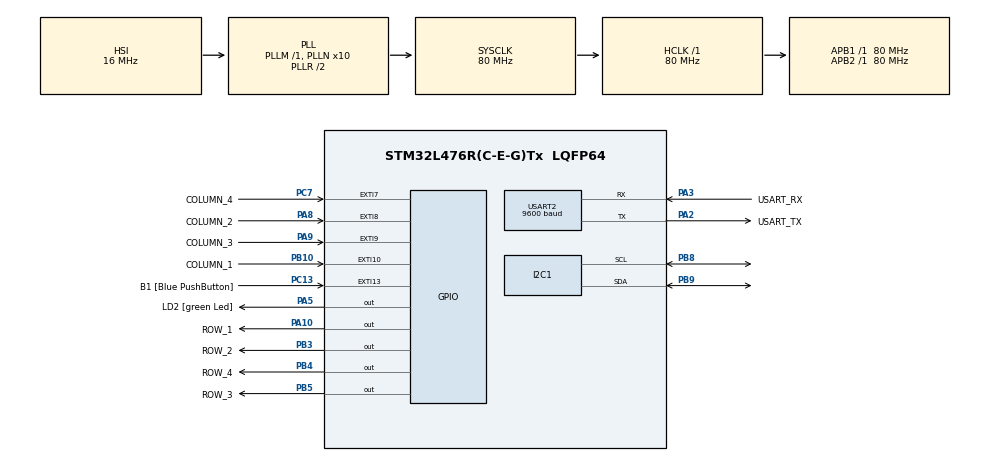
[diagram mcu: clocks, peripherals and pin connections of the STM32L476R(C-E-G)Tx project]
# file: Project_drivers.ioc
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I2C1.Timing=0x10909CEC
Mcu.Family=STM32L4
Mcu.Name=STM32L476R(C-E-G)Tx
Mcu.Package=LQFP64
NVIC.EXTI15_10_IRQn=true\:0\:0\:false\:false\:true\:true\:true\:true
NVIC.EXTI9_5_IRQn=true\:0\:0\:false\:false\:true\:true\:true\:true
NVIC.PriorityGroup=NVIC_PRIORITYGROUP_4
NVIC.USART2_IRQn=true\:0\:0\:false\:false\:true\:true\:true\:true
PA10.GPIO_Label=ROW_1
PA10.Signal=GPIO_Output
PA13\ (JTMS-SWDIO).GPIO_Label=TMS
PA13\ (JTMS-SWDIO).Mode=Serial_Wire
PA13\ (JTMS-SWDIO).Signal=SYS_JTMS-SWDIO
PA14\ (JTCK-SWCLK).GPIO_Label=TCK
PA14\ (JTCK-SWCLK).Mode=Serial_Wire
PA14\ (JTCK-SWCLK).Signal=SYS_JTCK-SWCLK
PA2.GPIO_Label=USART_TX
PA2.GPIO_Mode=GPIO_MODE_AF_PP
PA2.GPIO_PuPd=GPIO_NOPULL
PA2.GPIO_Speed=GPIO_SPEED_FREQ_VERY_HIGH
PA2.Mode=Asynchronous
PA2.Signal=USART2_TX
PA3.GPIO_Label=USART_RX
PA3.GPIO_Mode=GPIO_MODE_AF_PP
PA3.GPIO_PuPd=GPIO_NOPULL
PA3.GPIO_Speed=GPIO_SPEED_FREQ_VERY_HIGH
PA3.Mode=Asynchronous
PA3.Signal=USART2_RX
PA5.GPIO_Label=LD2 [green Led]
PA5.GPIO_ModeDefaultOutputPP=GPIO_MODE_OUTPUT_PP
PA5.GPIO_PuPd=GPIO_NOPULL
PA5.GPIO_Speed=GPIO_SPEED_FREQ_LOW
PA5.Signal=GPIO_Output
PA8.GPIO_Label=COLUMN_2
PA8.GPIO_PuPd=GPIO_PULLDOWN
PA8.Signal=GPXTI8
PA9.GPIO_Label=COLUMN_3
PA9.GPIO_PuPd=GPIO_PULLDOWN
PA9.Signal=GPXTI9
PB10.GPIO_Label=COLUMN_1
PB10.GPIO_PuPd=GPIO_PULLDOWN
PB10.Signal=GPXTI10
PB3\ (JTDO-TRACESWO).GPIO_Label=ROW_2
PB3\ (JTDO-TRACESWO).Signal=GPIO_Output
PB4\ (NJTRST).GPIO_Label=ROW_4
PB4\ (NJTRST).Signal=GPIO_Output
PB5.GPIO_Label=ROW_3
PB5.Signal=GPIO_Output
PB8.Mode=I2C
PB8.Signal=I2C1_SCL
PB9.Mode=I2C
PB9.Signal=I2C1_SDA
PC13.GPIO_Label=B1 [Blue PushButton]
PC13.GPIO_ModeDefaultEXTI=GPIO_MODE_IT_FALLING
PC13.GPIO_PuPd=GPIO_NOPULL
PC13.Signal=GPXTI13
PC14-OSC32_IN\ (PC14).Mode=LSE-External-Oscillator
PC14-OSC32_IN\ (PC14).Signal=RCC_OSC32_IN
PC15-OSC32_OUT\ (PC15).Mode=LSE-External-Oscillator
PC15-OSC32_OUT\ (PC15).Signal=RCC_OSC32_OUT
PC7.GPIO_Label=COLUMN_4
PC7.GPIO_PuPd=GPIO_PULLDOWN
PC7.Signal=GPXTI7
PH0-OSC_IN\ (PH0).Signal=RCC_OSC_IN
PH1-OSC_OUT\ (PH1).Signal=RCC_OSC_OUT
ProjectManager.HeapSize=0x200
ProjectManager.StackSize=0x400
ProjectManager.TargetToolchain=STM32CubeIDE
RCC.ADCFreq_Value=64000000
RCC.AHBFreq_Value=80000000
RCC.APB1Freq_Value=80000000
RCC.APB1TimFreq_Value=80000000
RCC.APB2Freq_Value=80000000
RCC.APB2TimFreq_Value=80000000
RCC.CortexFreq_Value=80000000
RCC.HCLKFreq_Value=80000000
RCC.HSE_VALUE=8000000
RCC.HSI_VALUE=16000000
RCC.MSI_VALUE=4000000
RCC.PLLN=10
RCC.PLLSourceVirtual=RCC_PLLSOURCE_HSI
RCC.PREFETCH_ENABLE=1
RCC.SYSCLKFreq_VALUE=80000000
RCC.SYSCLKSource=RCC_SYSCLKSOURCE_PLLCLK
RCC.USBFreq_Value=64000000
RCC.VCOOutputFreq_Value=160000000
USART2.BaudRate=9600
USART2.VirtualMode-Asynchronous=VM_ASYNC
board=NUCLEO-L476RG

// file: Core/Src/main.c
/* USER CODE BEGIN Header */
/**
  ******************************************************************************
  * @file           : main.c
  * @brief          : Main program body
  ******************************************************************************
  * @attention
  *
  * Copyright (c) 2023 STMicroelectronics.
  * All rights reserved.
  *
  * This software is licensed under terms that can be found in the LICENSE file
  * in the root directory of this software component.
  * If no LICENSE file comes with this software, it is provided AS-IS.
  *
  ******************************************************************************
  */
/* USER CODE END Header */
#include "main.h"

/* USER CODE BEGIN Includes */
#include "ring_buffer.h" //Imports the ring buffer library.

#include "keyboard.h" //Imports the keyboard library.

#include "stdio.h"

#include "ssd1306.h" //Imports the screen controller library.

#include "ssd1306_fonts.h" //Imports the fonds size library for the screen.
/* USER CODE END Includes */

I2C_HandleTypeDef hi2c1;

UART_HandleTypeDef huart2;

/* USER CODE BEGIN PV */
uint8_t rx_buffer[5];//Ring buffer of 5 positions due to the parameters given in the exercise.
ring_buffer_t ring_buffer_password; //variable that indicates the data in the ring buffer.

uint8_t rx_data;

uint16_t key_event = 0xFF; //The default value for the action of pressing a key.
/* USER CODE END PV */

void SystemClock_Config(void);
static void MX_GPIO_Init(void);
static void MX_USART2_UART_Init(void);
static void MX_I2C1_Init(void);

/* USER CODE BEGIN 0 */

int _write(int file, char *ptr, int len)
{
	HAL_UART_Transmit(&huart2, (uint8_t *)ptr, len, HAL_MAX_DELAY); //el asterisco del uint8 es para evitar warnings por diferencia de tipos de dato
	return len;
}
/**
 * @brief This function of callback allows to read the keyboard multiple times,
 * since the values to read are being controlled via GPIO.
 */
void              HAL_GPIO_EXTI_Callback(uint16_t GPIO_Pin){

	key_event = GPIO_Pin ;
}

/* USER CODE END 0 */

int main(void)
{

  /* MCU Configuration--------------------------------------------------------*/

  /* Reset of all peripherals, Initializes the Flash interface and the Systick. */
	HAL_Init();

  /* Configure the system clock */
  SystemClock_Config();

  /* Initialize all configured peripherals */
  MX_GPIO_Init();
  MX_USART2_UART_Init();
  MX_I2C1_Init();
  /* USER CODE BEGIN 2 */
  ring_buffer_init(&ring_buffer_password, rx_buffer, 5);//Initialize the ring buffer.

  HAL_UART_Receive_IT(&huart2, &rx_data, 1);//When data is received it goes to the ring buffer.

  /* USER CODE END 2 */

  /* Infinite loop */
  keyboard_init();//Initialize the keyboard with default values.
  /**
   * @brief This chunk of code initialize the screen and shows something define below.
   * Similar chunks of code will appear across the the rest of the program and will show different things.
   */
  ssd1306_Init(); //initialize the screen with default values.
  ssd1306_Fill(Magenta);//this color was defined in the configs of the screen, however it does not show since the screen its monochromatic.
  ssd1306_SetCursor(20, 25);//sets the position of the message that will appear on the screen.
  ssd1306_WriteString("Bienvenido.", Font_7x10, Black);//writes a specified message on the screen, with a given fond and  color.

  /**
   * @brief This chunk of code does the load bar animation.
   */
  ssd1306_DrawRectangle(8, 38, 113, 47, Black);//Draws a rectangle that contains the fill rectangle.
  for(int s = 10;s <= 110; s+=20){ //reiterates the values of s until it reaches 110
	  //updating every time the size of the fill rectangle and waiting for 300 ms.
		ssd1306_FillRectangle(10, 40, s, 45, Black);
		 ssd1306_UpdateScreen();
		 HAL_Delay(300);
 	}

  //shows a different screen.
    ssd1306_Init();
  	ssd1306_Fill(Magenta);
  	ssd1306_SetCursor(0, 5);
  	ssd1306_WriteString("Digite su contrasena.", Font_6x8, Black);
  	ssd1306_SetCursor(0, 45);
  	ssd1306_WriteString(" A o B para reiniciar.", Font_6x8, Black);
  	ssd1306_SetCursor(0, 55);
  	ssd1306_WriteString(" * para confirmar.", Font_6x8, Black);
  	ssd1306_UpdateScreen();
  	 printf("Digite su contraseña. \r\n");

  int pass = 0;//Variable that saves the password.
  char *show; //This variable allows to store characters in it. They will be shown on the screen.
  int space = 40; //variable to give space between number being shown on the screen. The initial value is an indentation.
  while (1)
  {

	 if (key_event != 0xFF) { // Checks if there is a event from the EXTI callback.
		  uint16_t key_pressed = keypad_handler(key_event);
		  ring_buffer_put(&ring_buffer_password, key_pressed);//Saves in the buffer the data collected form the keyboard.
		  printf("Key pressed: %x\r\n", key_pressed);// Prints the key pressed.
		  /**
		   * @brief This chunk of code compares the values in the key_pressed variable
		   * and saves a character according to that in the show variable.
		   */
		  if(key_pressed == 0x01){
			  show = "1";
		  }
		  if(key_pressed == 0x02){
			  show = "2";
		  }
		  if(key_pressed == 0x03){
			  show = "3";
		  }
		  if(key_pressed == 0x04){
			  show = "4";
		  }
		  if(key_pressed == 0x05){
			  show = "5";
		  }
		  if(key_pressed == 0x06){
			  show = "6";
		  }
		  if(key_pressed == 0x07){
			  show = "7";
		  }
		  if(key_pressed == 0x08){
			  show = "8";
		  }
		  if(key_pressed == 0x09){
			  show = "9";
		  }
		  if(key_pressed == 0x0E){
			  show = "*";
		  }
		  if(key_pressed == 0x0A){
			  show = "A";
		  }
		  if(key_pressed == 0x0B){
			  show = "B";
		  }
		  if(key_pressed == 0x0C){
			  show = "C";
		  }
		  if(key_pressed == 0x0D){
			  show = "D";
		  }
		  /**
		   * @brief This chunk writes the number on the screen and after that replaces them with a *.
		   * The numbers are separated on the screen by adding 10 to the position in the x axis.
		   */
		  ssd1306_SetCursor(space, 26);
		  ssd1306_WriteString(show, Font_11x18, Black);
		  ssd1306_UpdateScreen();
		  HAL_Delay(400);
		  ssd1306_SetCursor(space, 26);
		  ssd1306_WriteString("*", Font_11x18, Black);
		  ssd1306_UpdateScreen();
		  space = space + 10;

		  /**
		   * @brief This chunk compares if is pressed A or B to reset the data an clean the buffer.
		   * In addition to that it shows a load screen (again xd), and specifies to insert new values via keyboard.
		   */
		  if (key_pressed == 0x0B || key_pressed == 0x0A){
		 		 printf("Borrando datos... \r\n");
		 		 printf("Ingrese la contraseña de nuevo. \r\n");

				pass=0;
				 ring_buffer_reset(&ring_buffer_password);
				 space = 40;

		 		 ssd1306_Init();
		 		 ssd1306_Fill(Magenta);
		 		 ssd1306_SetCursor(5, 25);
		 		 ssd1306_WriteString("Borrando datos...", Font_7x10, Black);
		 		 ssd1306_DrawRectangle(8, 38, 113, 47, Black);
		 		 for(int s = 10;s <= 110; s+=20){
		 			ssd1306_FillRectangle(10, 40, s, 45, Black);
					 ssd1306_UpdateScreen();
					 HAL_Delay(300);
		 		 }

		 		 ssd1306_Init();
				 ssd1306_Fill(Magenta);
				 ssd1306_SetCursor(0, 0);
				 ssd1306_WriteString("Ingrese los datos", Font_6x8, Black);
				 ssd1306_SetCursor(0, 10);
				 ssd1306_WriteString("nuevamente, por favor.", Font_6x8, Black);
				 ssd1306_UpdateScreen();
				 HAL_Delay(2000);
		 	 }

		  HAL_Delay(600); //this delay was implemented to avoid the bouncing effect of the key when pressed.
		  key_event = 0xFF; // clean the event
	 }

	 /**
	  * @brief This chunk compares the size of the buffer. when it is equal to 5 it reads the buffer and
	  * assign the value to the variable pass (excludes the value of the last position since it should be *) .
	  * after that it compares with a given number if its equal and the last position is a *, it shows pass.
	  * Any other case a fail will be shown.
	  */
	 if (ring_buffer_size(&ring_buffer_password) == 5){
		 for (int i = 0; i <= 3; i++){
				 pass = pass *10 + (rx_buffer[i]-0);
			 }
		  printf("Your password is:  %u\r\n", pass);
		  if ((rx_buffer[4] == 0x0E) && (pass == 1999)){
			  printf("Pass. \r\n");
			  ssd1306_Init();
			  ssd1306_Fill(Magenta);
			  ssd1306_SetCursor(35, 25);
			  ssd1306_DrawCircle( 67, 35, 28,Black);//draws multiple circles.
			  ssd1306_DrawCircle( 67, 35, 29,Black);
			  ssd1306_DrawCircle( 67, 35, 30,Black);
			  ssd1306_DrawCircle( 67, 35, 31,Black);
			  ssd1306_DrawCircle( 67, 35, 32,Black);
			  ssd1306_WriteString("PASS.", Font_16x26, Black);
			  ssd1306_UpdateScreen();
			  HAL_Delay(2000);
		  }
		  else{
			  printf("Fail. \r\n");
			  ssd1306_Init();
			  ssd1306_Fill(Magenta);
			  ssd1306_SetCursor(35, 25);
			  ssd1306_WriteString("FAIL.", Font_16x26, Black);
			  ssd1306_UpdateScreen();
			  HAL_Delay(2000);
		  }

		  //resets all the values to the default parameters and shows the initial screen.
		  ring_buffer_reset(&ring_buffer_password);
		  pass = 0;
		  space = 40;
		  ssd1306_Init();
		ssd1306_Fill(Magenta);
		ssd1306_SetCursor(0, 5);
		ssd1306_WriteString(" Digite su contrasena.", Font_6x8, Black);
		ssd1306_SetCursor(0, 45);
		ssd1306_WriteString(" A o B para reiniciar.", Font_6x8, Black);
		ssd1306_SetCursor(0, 55);
		ssd1306_WriteString(" * para confirmar.", Font_6x8, Black);
		ssd1306_UpdateScreen();
		 printf("Digite su contraseña. \r\n");
	 }
    /* USER CODE END WHILE */

}
}

void SystemClock_Config(void)
{
  RCC_OscInitTypeDef RCC_OscInitStruct = {0};
  RCC_ClkInitTypeDef RCC_ClkInitStruct = {0};

  /** Configure the main internal regulator output voltage
  */
  if (HAL_PWREx_ControlVoltageScaling(PWR_REGULATOR_VOLTAGE_SCALE1) != HAL_OK)
  {
    Error_Handler();
  }

  /** Initializes the RCC Oscillators according to the specified parameters
  * in the RCC_OscInitTypeDef structure.
  */
  RCC_OscInitStruct.OscillatorType = RCC_OSCILLATORTYPE_HSI;
  RCC_OscInitStruct.HSIState = RCC_HSI_ON;
  RCC_OscInitStruct.HSICalibrationValue = RCC_HSICALIBRATION_DEFAULT;
  RCC_OscInitStruct.PLL.PLLState = RCC_PLL_ON;
  RCC_OscInitStruct.PLL.PLLSource = RCC_PLLSOURCE_HSI;
  RCC_OscInitStruct.PLL.PLLM = 1;
  RCC_OscInitStruct.PLL.PLLN = 10;
  RCC_OscInitStruct.PLL.PLLP = RCC_PLLP_DIV7;
  RCC_OscInitStruct.PLL.PLLQ = RCC_PLLQ_DIV2;
  RCC_OscInitStruct.PLL.PLLR = RCC_PLLR_DIV2;
  if (HAL_RCC_OscConfig(&RCC_OscInitStruct) != HAL_OK)
  {
    Error_Handler();
  }

  /** Initializes the CPU, AHB and APB buses clocks
  */
  RCC_ClkInitStruct.ClockType = RCC_CLOCKTYPE_HCLK|RCC_CLOCKTYPE_SYSCLK
                              |RCC_CLOCKTYPE_PCLK1|RCC_CLOCKTYPE_PCLK2;
  RCC_ClkInitStruct.SYSCLKSource = RCC_SYSCLKSOURCE_PLLCLK;
  RCC_ClkInitStruct.AHBCLKDivider = RCC_SYSCLK_DIV1;
  RCC_ClkInitStruct.APB1CLKDivider = RCC_HCLK_DIV1;
  RCC_ClkInitStruct.APB2CLKDivider = RCC_HCLK_DIV1;

  if (HAL_RCC_ClockConfig(&RCC_ClkInitStruct, FLASH_LATENCY_4) != HAL_OK)
  {
    Error_Handler();
  }
}

static void MX_I2C1_Init(void)
{

  hi2c1.Instance = I2C1;
  hi2c1.Init.Timing = 0x10909CEC;
  hi2c1.Init.OwnAddress1 = 0;
  hi2c1.Init.AddressingMode = I2C_ADDRESSINGMODE_7BIT;
  hi2c1.Init.DualAddressMode = I2C_DUALADDRESS_DISABLE;
  hi2c1.Init.OwnAddress2 = 0;
  hi2c1.Init.OwnAddress2Masks = I2C_OA2_NOMASK;
  hi2c1.Init.GeneralCallMode = I2C_GENERALCALL_DISABLE;
  hi2c1.Init.NoStretchMode = I2C_NOSTRETCH_DISABLE;
  if (HAL_I2C_Init(&hi2c1) != HAL_OK)
  {
    Error_Handler();
  }

  /** Configure Analogue filter
  */
  if (HAL_I2CEx_ConfigAnalogFilter(&hi2c1, I2C_ANALOGFILTER_ENABLE) != HAL_OK)
  {
    Error_Handler();
  }

  /** Configure Digital filter
  */
  if (HAL_I2CEx_ConfigDigitalFilter(&hi2c1, 0) != HAL_OK)
  {
    Error_Handler();
  }

}

static void MX_USART2_UART_Init(void)
{

  huart2.Instance = USART2;
  huart2.Init.BaudRate = 9600;
  huart2.Init.WordLength = UART_WORDLENGTH_8B;
  huart2.Init.StopBits = UART_STOPBITS_1;
  huart2.Init.Parity = UART_PARITY_NONE;
  huart2.Init.Mode = UART_MODE_TX_RX;
  huart2.Init.HwFlowCtl = UART_HWCONTROL_NONE;
  huart2.Init.OverSampling = UART_OVERSAMPLING_16;
  huart2.Init.OneBitSampling = UART_ONE_BIT_SAMPLE_DISABLE;
  huart2.AdvancedInit.AdvFeatureInit = UART_ADVFEATURE_NO_INIT;
  if (HAL_UART_Init(&huart2) != HAL_OK)
  {
    Error_Handler();
  }

}

static void MX_GPIO_Init(void)
{
  GPIO_InitTypeDef GPIO_InitStruct = {0};

  /* GPIO Ports Clock Enable */
  __HAL_RCC_GPIOC_CLK_ENABLE();
  __HAL_RCC_GPIOH_CLK_ENABLE();
  __HAL_RCC_GPIOA_CLK_ENABLE();
  __HAL_RCC_GPIOB_CLK_ENABLE();

  /*Configure GPIO pin Output Level */
  HAL_GPIO_WritePin(GPIOA, LD2_Pin|ROW_1_Pin, GPIO_PIN_RESET);

  /*Configure GPIO pin Output Level */
  HAL_GPIO_WritePin(GPIOB, ROW_2_Pin|ROW_4_Pin|ROW_3_Pin, GPIO_PIN_RESET);

  /*Configure GPIO pin : B1_Pin */
  GPIO_InitStruct.Pin = B1_Pin;
  GPIO_InitStruct.Mode = GPIO_MODE_IT_FALLING;
  GPIO_InitStruct.Pull = GPIO_NOPULL;
  HAL_GPIO_Init(B1_GPIO_Port, &GPIO_InitStruct);

  /*Configure GPIO pins : LD2_Pin ROW_1_Pin */
  GPIO_InitStruct.Pin = LD2_Pin|ROW_1_Pin;
  GPIO_InitStruct.Mode = GPIO_MODE_OUTPUT_PP;
  GPIO_InitStruct.Pull = GPIO_NOPULL;
  GPIO_InitStruct.Speed = GPIO_SPEED_FREQ_LOW;
  HAL_GPIO_Init(GPIOA, &GPIO_InitStruct);

  /*Configure GPIO pin : COLUMN_1_Pin */
  GPIO_InitStruct.Pin = COLUMN_1_Pin;
  GPIO_InitStruct.Mode = GPIO_MODE_IT_RISING;
  GPIO_InitStruct.Pull = GPIO_PULLDOWN;
  HAL_GPIO_Init(COLUMN_1_GPIO_Port, &GPIO_InitStruct);

  /*Configure GPIO pin : COLUMN_4_Pin */
  GPIO_InitStruct.Pin = COLUMN_4_Pin;
  GPIO_InitStruct.Mode = GPIO_MODE_IT_RISING;
  GPIO_InitStruct.Pull = GPIO_PULLDOWN;
  HAL_GPIO_Init(COLUMN_4_GPIO_Port, &GPIO_InitStruct);

  /*Configure GPIO pins : COLUMN_2_Pin COLUMN_3_Pin */
  GPIO_InitStruct.Pin = COLUMN_2_Pin|COLUMN_3_Pin;
  GPIO_InitStruct.Mode = GPIO_MODE_IT_RISING;
  GPIO_InitStruct.Pull = GPIO_PULLDOWN;
  HAL_GPIO_Init(GPIOA, &GPIO_InitStruct);

  /*Configure GPIO pins : ROW_2_Pin ROW_4_Pin ROW_3_Pin */
  GPIO_InitStruct.Pin = ROW_2_Pin|ROW_4_Pin|ROW_3_Pin;
  GPIO_InitStruct.Mode = GPIO_MODE_OUTPUT_PP;
  GPIO_InitStruct.Pull = GPIO_NOPULL;
  GPIO_InitStruct.Speed = GPIO_SPEED_FREQ_LOW;
  HAL_GPIO_Init(GPIOB, &GPIO_InitStruct);

  /* EXTI interrupt init*/
  HAL_NVIC_SetPriority(EXTI9_5_IRQn, 0, 0);
  HAL_NVIC_EnableIRQ(EXTI9_5_IRQn);

  HAL_NVIC_SetPriority(EXTI15_10_IRQn, 0, 0);
  HAL_NVIC_EnableIRQ(EXTI15_10_IRQn);

}

void Error_Handler(void)
{
  __disable_irq();
  while (1)
  {
  }
}
